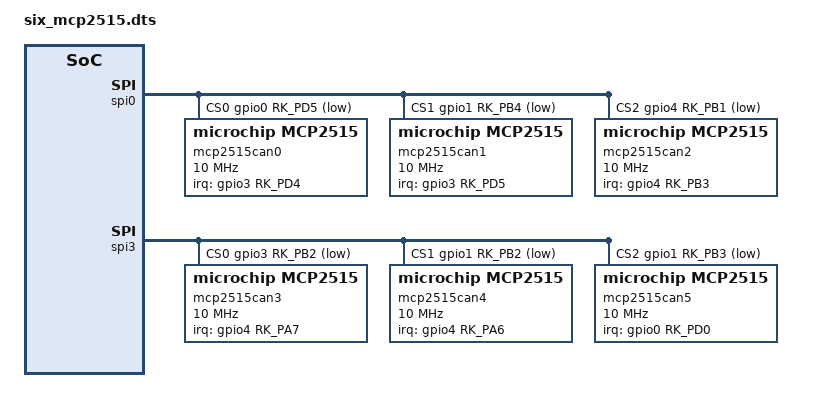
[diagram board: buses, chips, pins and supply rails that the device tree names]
/dts-v1/;
/plugin/;

#include <dt-bindings/gpio/gpio.h>
#include <dt-bindings/pinctrl/rockchip.h>
#include <dt-bindings/interrupt-controller/irq.h>

/ {
	fragment@0 {
		target-path = "/";

		__overlay__ {
			can0_clk: can0_clk {
				compatible = "fixed-clock";
				#clock-cells = <0>;
				clock-frequency = <16000000>;
			};

			can1_clk: can1_clk {
				compatible = "fixed-clock";
				#clock-cells = <0>;
				clock-frequency = <16000000>;
			};

			can2_clk: can2_clk {
				compatible = "fixed-clock";
				#clock-cells = <0>;
				clock-frequency = <16000000>;
			};

			can3_clk: can3_clk {
				compatible = "fixed-clock";
				#clock-cells = <0>;
				clock-frequency = <16000000>;
			};

			can4_clk: can4_clk {
				compatible = "fixed-clock";
				#clock-cells = <0>;
				clock-frequency = <16000000>;
			};

			can5_clk: can5_clk {
				compatible = "fixed-clock";
				#clock-cells = <0>;
				clock-frequency = <16000000>;
			};
		};
	};

	fragment@1 {
		target = <&spi0>;

		__overlay__ {
			status = "okay";
			#address-cells = <1>;
			#size-cells = <0>;
			num-cs = <3>;
			cs-gpios =
					   <&gpio0 RK_PD5 GPIO_ACTIVE_LOW>,
					   <&gpio1 RK_PB4 GPIO_ACTIVE_LOW>,
					   <&gpio4 RK_PB1 GPIO_ACTIVE_LOW>;

			mcp2515can0: can@0 {
				compatible = "microchip,mcp2515";
				reg = <0>;
				clocks = <&can0_clk>;
				interrupt-parent = <&gpio3>;
				interrupts = <RK_PD4 IRQ_TYPE_EDGE_FALLING>;
				spi-max-frequency = <10000000>;
				pinctrl-names = "default";
				pinctrl-0 = <&mcp251x_can0_int_pins>;
				status = "okay";
			};
			mcp2515can1: can@1 {
				compatible = "microchip,mcp2515";
				reg = <1>;
				clocks = <&can1_clk>;
				interrupt-parent = <&gpio3>;
				interrupts = <RK_PD5 IRQ_TYPE_EDGE_FALLING>;
				spi-max-frequency = <10000000>;
				pinctrl-names = "default";
				pinctrl-0 = <&mcp251x_can1_int_pins>;
				status = "okay";
			};
			mcp2515can2: can@2 {
				compatible = "microchip,mcp2515";
				reg = <2>;
				clocks = <&can2_clk>;
				interrupt-parent = <&gpio4>;
				interrupts = <RK_PB3 IRQ_TYPE_EDGE_FALLING>;
				spi-max-frequency = <10000000>;
				pinctrl-names = "default";
				pinctrl-0 = <&mcp251x_can2_int_pins>;
				status = "okay";
			};

		};
	};
	fragment@2 {
		target = <&spi3>;

		__overlay__ {
			status = "okay";
			#address-cells = <1>;
			#size-cells = <0>;
			num-cs = <3>;
			cs-gpios =
					   <&gpio3 RK_PB2 GPIO_ACTIVE_LOW>,
					   <&gpio1 RK_PB2 GPIO_ACTIVE_LOW>,
					   <&gpio1 RK_PB3 GPIO_ACTIVE_LOW>;

						mcp2515can3: can@0 {
							compatible = "microchip,mcp2515";
							reg = <0>;
							clocks = <&can3_clk>;
							interrupt-parent = <&gpio4>;
							interrupts = <RK_PA7 IRQ_TYPE_EDGE_FALLING>;
							spi-max-frequency = <10000000>;
							pinctrl-names = "default";
							pinctrl-0 = <&mcp251x_can3_int_pins>;
							status = "okay";
						};

						mcp2515can4: can@1 {
							compatible = "microchip,mcp2515";
							reg = <1>;
							clocks = <&can4_clk>;
							interrupt-parent = <&gpio4>;
							interrupts = <RK_PA6 IRQ_TYPE_EDGE_FALLING>;
							spi-max-frequency = <10000000>;
							pinctrl-names = "default";
							pinctrl-0 = <&mcp251x_can4_int_pins>;
							status = "okay";
						};

					mcp2515can5: can@2 {
							compatible = "microchip,mcp2515";
							reg = <2>;
							clocks = <&can5_clk>;
							interrupt-parent = <&gpio0>;
							interrupts = <RK_PD0 IRQ_TYPE_EDGE_FALLING>;
							spi-max-frequency = <10000000>;
							pinctrl-names = "default";
							pinctrl-0 = <&mcp251x_can5_int_pins>;
							status = "okay";
						};
		};
	};
};
